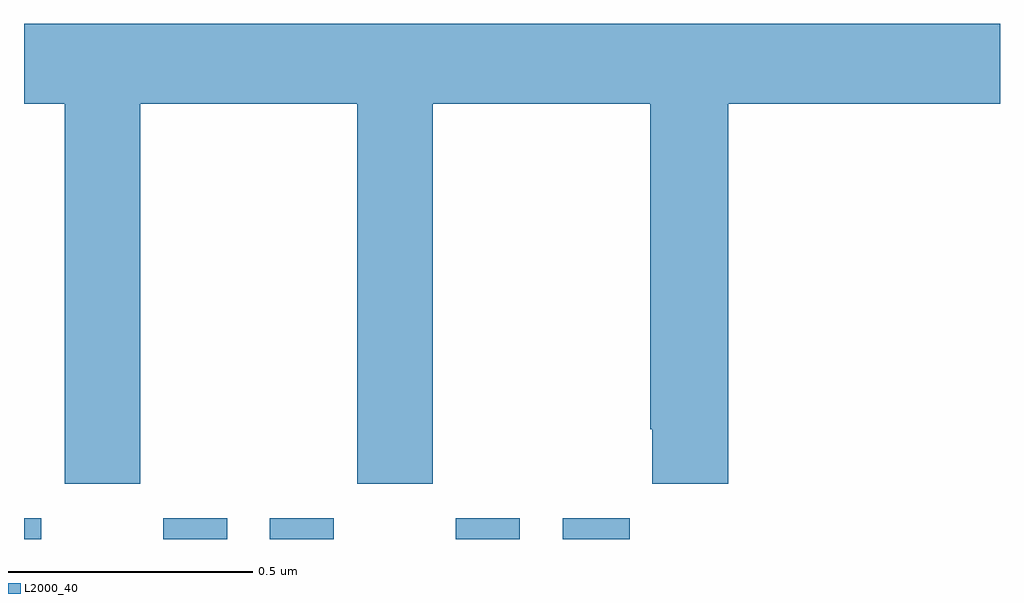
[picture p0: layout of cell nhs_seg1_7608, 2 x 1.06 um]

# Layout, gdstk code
import gdstk
lib = gdstk.Library(unit=1e-6, precision=1e-09)
def R(c, l, rs):  # rectangles x0, y0, x1, y1
    for r in rs: c.add(gdstk.rectangle(r[:2], r[2:], *l))
def P(c, l, *ps):  # polygons
    for p in ps: c.add(gdstk.Polygon(p, *l))
L2000_40 = (2000, 40)

nhs_seg1_7608 = lib.new_cell('nhs_seg1_7608')
R(nhs_seg1_7608, L2000_40, [(206,524.199,206.035,524.242), (206.285,524.199,206.416,524.242), (206.504,524.199,206.635,524.242), (206.885,524.199,207.016,524.242), (207.104,524.199,207.241,524.242)])
P(nhs_seg1_7608, L2000_40, [(206.238,525.092),(206.683,525.092),(206.683,524.313),(206.838,524.313),(206.838,525.092),(207.283,525.092),(207.283,524.425),(207.287,524.425),(207.287,524.313),(207.443,524.313),(207.443,525.092),(208,525.092),(208,525.256),(206,525.256),(206,525.092),(206.083,525.092),(206.083,524.313),(206.238,524.313)])

lib.write_gds('nhs_seg1_7608.gds')
